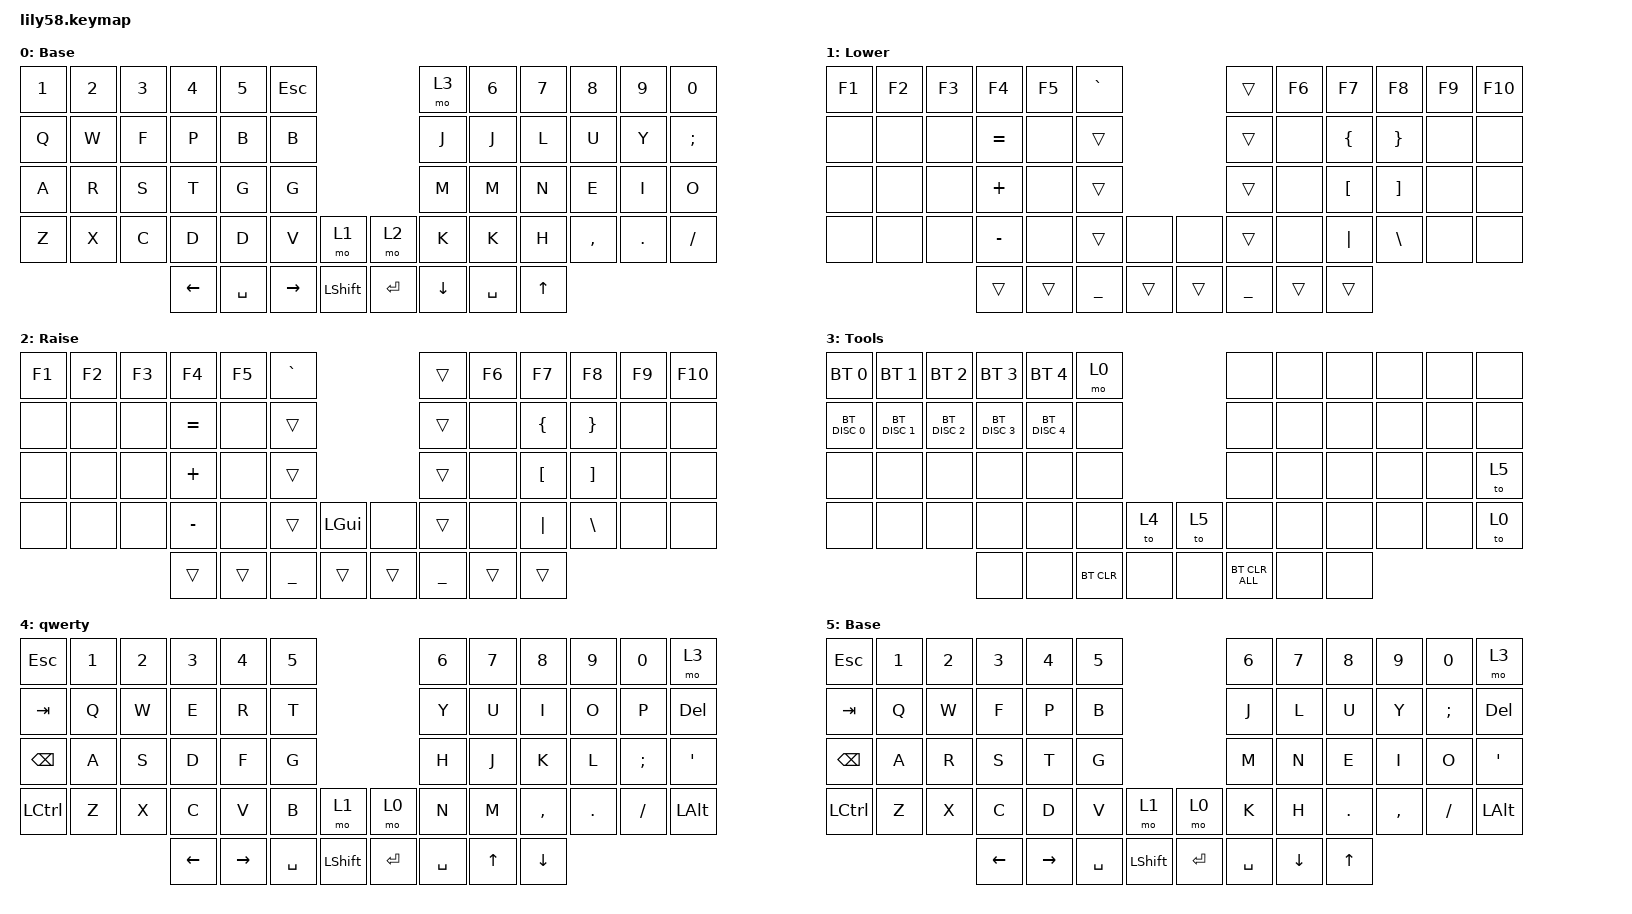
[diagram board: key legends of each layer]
/*
 * Copyright (c) 2020 The ZMK Contributors
 *
 * SPDX-License-Identifier: MIT
 */

#include <behaviors.dtsi>
#include <dt-bindings/zmk/bt.h>
#include <dt-bindings/zmk/keys.h>

/ {
    keymap {
        compatible = "zmk,keymap";

        default2 {
            display-name = "Base";
            bindings = <
&kp N1  &kp N2  &kp N3  &kp N4          &kp N5     &kp ESC                                     &mo 3           &kp N6     &kp N7        &kp N8     &kp N9   &kp N0
&kp Q   &kp W   &kp F   &kp P           &kp B      &kp B                                       &kp J           &kp J      &kp L         &kp U      &kp Y    &kp SEMI
&kp A   &kp R   &kp S   &kp T           &kp G      &kp G                                       &kp M           &kp M      &kp N         &kp E      &kp I    &kp O
&kp Z   &kp X   &kp C   &kp D           &kp D      &kp V            &mo 1             &mo 2    &kp K           &kp K      &kp H         &kp COMMA  &kp DOT  &kp FSLH
                        &kp LEFT_ARROW  &kp SPACE  &kp RIGHT_ARROW  &kp LEFT_SHIFT    &kp RET  &kp DOWN_ARROW  &kp SPACE  &kp UP_ARROW
            >;
        };

        lower_layer {
            // ------------------------------------------------------------------------------------------------------------
            // | BTCLR | BT1 | BT2 |  BT3 |  BT4 |  BT5 |                   |      |       |       |      |       |       |
            // |  F1   |  F2 |  F3 |  F4  |  F5  |  F6  |                   |  F7  |  F8   |  F9   |  F10 |  F11  |  F12  |
            // |   `   |  !  |  @  |  #   |  $   |  %   |                   |  ^   |  &    |  *    |  (   |   )   |   ~   |
            // |       |     |     |      |      |      |        |  |       |      |  _    |  +    |  {   |   }   |  "|"  |
            //                     |      |      |      |        |  |       |      |       |       |

            display-name = "Lower";
            bindings = <
&kp F1  &kp F2  &kp F3  &kp F4     &kp F5  &kp GRAVE                         &trans          &kp F6  &kp F7            &kp F8             &kp F9  &kp F10
&none   &none   &none   &kp EQUAL  &none   &trans                            &trans          &none   &kp LEFT_BRACE    &kp RIGHT_BRACE    &none   &none
&none   &none   &none   &kp PLUS   &none   &trans                            &trans          &none   &kp LEFT_BRACKET  &kp RIGHT_BRACKET  &none   &none
&none   &none   &none   &kp MINUS  &none   &trans          &none     &none   &trans          &none   &kp PIPE          &kp BACKSLASH      &none   &none
                        &trans     &trans  &kp UNDERSCORE  &trans    &trans  &kp UNDERSCORE  &trans  &trans
            >;
        };

        raise_layer {
            display-name = "Raise";
            bindings = <
&kp F1  &kp F2  &kp F3  &kp F4     &kp F5  &kp GRAVE                           &trans          &kp F6  &kp F7            &kp F8             &kp F9  &kp F10
&none   &none   &none   &kp EQUAL  &none   &trans                              &trans          &none   &kp LEFT_BRACE    &kp RIGHT_BRACE    &none   &none
&none   &none   &none   &kp PLUS   &none   &trans                              &trans          &none   &kp LEFT_BRACKET  &kp RIGHT_BRACKET  &none   &none
&none   &none   &none   &kp MINUS  &none   &trans          &kp LGUI    &none   &trans          &none   &kp PIPE          &kp BACKSLASH      &none   &none
                        &trans     &trans  &kp UNDERSCORE  &trans      &trans  &kp UNDERSCORE  &trans  &trans
            >;
        };

        tools {
            bindings = <
&bt BT_SEL 0   &bt BT_SEL 1   &bt BT_SEL 2   &bt BT_SEL 3   &bt BT_SEL 4   &mo 0                       &none           &none  &none  &none  &none  &none
&bt BT_DISC 0  &bt BT_DISC 1  &bt BT_DISC 2  &bt BT_DISC 3  &bt BT_DISC 4  &none                       &none           &none  &none  &none  &none  &none
&none          &none          &none          &none          &none          &none                       &none           &none  &none  &none  &none  &to 5
&none          &none          &none          &none          &none          &none       &to 4    &to 5  &none           &none  &none  &none  &none  &to 0
                                             &none          &none          &bt BT_CLR  &none    &none  &bt BT_CLR_ALL  &none  &none
            >;

            label = "Tools";
        };

        qwerty {
            bindings = <
&kp ESC    &kp N1  &kp N2  &kp N3          &kp N4           &kp N5                             &kp N6     &kp N7        &kp N8          &kp N9   &kp N0    &mo 3
&kp TAB    &kp Q   &kp W   &kp E           &kp R            &kp T                              &kp Y      &kp U         &kp I           &kp O    &kp P     &kp DEL
&kp BSPC   &kp A   &kp S   &kp D           &kp F            &kp G                              &kp H      &kp J         &kp K           &kp L    &kp SEMI  &kp APOS
&kp LCTRL  &kp Z   &kp X   &kp C           &kp V            &kp B      &mo 1        &mo 0      &kp N      &kp M         &kp COMMA       &kp DOT  &kp FSLH  &kp LALT
                           &kp LEFT_ARROW  &kp RIGHT_ARROW  &kp SPACE  &kp LSHFT    &kp ENTER  &kp SPACE  &kp UP_ARROW  &kp DOWN_ARROW
            >;

            label = "qwerty";
        };

        default_layer {
            // ------------------------------------------------------------------------------------------------------------
            // |  ESC  |  1  |  2  |  3   |  4   |  5   |                   |  6   |  7    |  8    |  9   |   0   |   `   |
            // |  TAB  |  Q  |  W  |  E   |  R   |  T   |                   |  Y   |  U    |  I    |  O   |   P   |   -   |
            // |  CTRL |  A  |  S  |  D   |  F   |  G   |                   |  H   |  J    |  K    |  L   |   ;   |   '   |
            // | SHIFT |  Z  |  X  |  C   |  V   |  B   |   "["  |  |  "]"  |  N   |  M    |  ,    |  .   |   /   | SHIFT |
            //                     | ALT  | GUI  | LOWER|  SPACE |  | ENTER | RAISE| BSPC  | GUI   |

            display-name = "Base";
            bindings = <
&kp ESC        &kp N1  &kp N2  &kp N3          &kp N4           &kp N5                                &kp N6     &kp N7          &kp N8        &kp N9     &kp N0         &mo 3
&kp TAB        &kp Q   &kp W   &kp F           &kp P            &kp B                                 &kp J      &kp L           &kp U         &kp Y      &kp SEMICOLON  &kp DEL
&kp BACKSPACE  &kp A   &kp R   &kp S           &kp T            &kp G                                 &kp M      &kp N           &kp E         &kp I      &kp O          &kp SQT
&kp LCTRL      &kp Z   &kp X   &kp C           &kp D            &kp V      &mo 1             &mo 0    &kp K      &kp H           &kp PERIOD    &kp COMMA  &kp FSLH       &kp LEFT_ALT
                               &kp LEFT_ARROW  &kp RIGHT_ARROW  &kp SPACE  &kp LEFT_SHIFT    &kp RET  &kp SPACE  &kp DOWN_ARROW  &kp UP_ARROW
            >;
        };
    };
};
